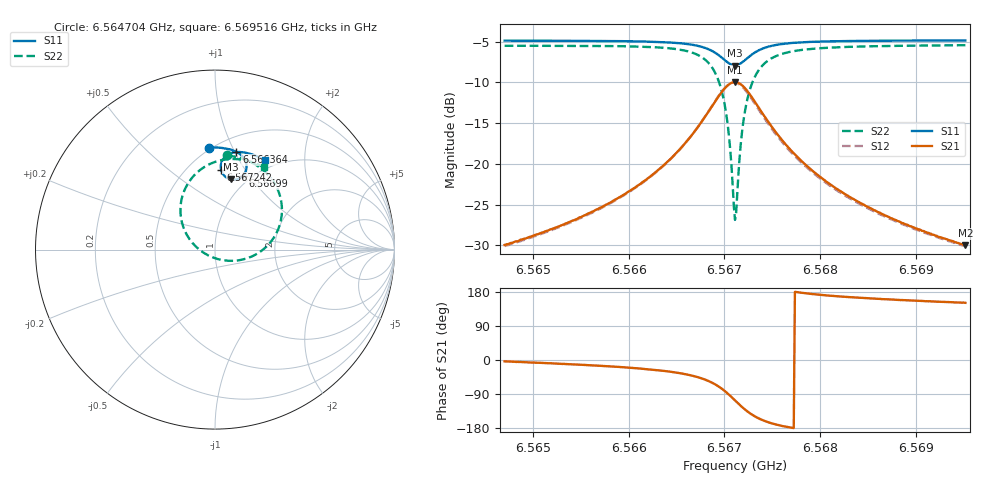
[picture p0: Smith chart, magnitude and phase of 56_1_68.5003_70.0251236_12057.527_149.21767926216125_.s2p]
#  HZ  S  RI  R  50.00
! Rohde & Schwarz Vector Network Analyzer
! Rohde-Schwarz,ZNB20-2Port,1311601062101988,3.16
! Created: UTC 3/20/2024, 4:51:02 PM
! freq[Hz]  re:S11  im:S11  re:S21  im:S21  re:S12  im:S12  re:S22  im:S22
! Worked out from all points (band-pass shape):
!   401 points, 6.564704 GHz to 6.569516 GHz, reference 50 ohm
!   highest |S21| = -9.98 dB at 6.56711 GHz (marker M1); lowest = -30.0 dB at 6.569516 GHz (marker M2)
!   |S21| within 3 dB of the highest: 6.566868 GHz to 6.56735 GHz (482.5 kHz wide, 0.00735 % of centre)
!   lowest |S11| = -7.9 dB at 6.56711 GHz (marker M3), VSWR 2.34, Z = 42.5 + j39.7 ohm
!   |S11| at or under -10 dB: nowhere
!   |S22| runs from -26.9 to -5.4 dB; largest |S21 - S12| = 0.016
!   S11 on the Smith chart (normalised r, x): 6.564704 GHz: 0.48, +0.82; 6.566364 GHz: 0.64, +1.02; 6.56699 GHz: 0.91, +0.93; 6.567242 GHz: 0.71, +0.79; 6.569516 GHz: 0.87, +1.29
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6.5647039e9  -0.0348 0.5684  0.0317 -0.00201  0.0311 -0.00248  0.069 0.525
6.5655099e9  0.0331 0.567  0.0462 -0.0103  0.0455 -0.011  0.1511 0.5071
6.565955e9  0.0746 0.5604  0.0613 -0.0215  0.0604 -0.0222  0.2093 0.4827
6.5663159e9  0.1133 0.5474  0.0821 -0.0423  0.081 -0.0433  0.2721 0.4399
6.5663641e9  0.1189 0.5447  0.0859 -0.0469  0.0846 -0.048  0.282 0.4308
6.5666167e9  0.1512 0.5211  0.1088 -0.0873  0.1073 -0.0893  0.3418 0.3512
6.5667971e9  0.1726 0.4843  0.1202 -0.1524  0.117 -0.1559  0.373 0.2254
6.5669054e9  0.1739 0.4463  0.1038 -0.219  0.0975 -0.2238  0.3452 0.0981
6.5669896e9  0.155 0.4111  0.0536 -0.2791  0.0425 -0.2825  0.2506 -0.0127
6.5670378e9  0.1323 0.3954  0.00339 -0.3041  -0.0105 -0.3044  0.1566 -0.0547
6.5670859e9  0.1026 0.3894  -0.0586 -0.3102  -0.0734 -0.3055  0.0437 -0.0589
6.5671099e9  0.087 0.3913  -0.0903 -0.3039  -0.1049 -0.2966  -0.0124 -0.0435
6.567134e9  0.0723 0.3966  -0.1205 -0.2915  -0.1336 -0.2817  -0.0639 -0.0171
6.5671701e9  0.0536 0.4097  -0.1585 -0.2636  -0.1686 -0.251  -0.1265 0.0381
6.5671941e9  0.0442 0.4211  -0.1776 -0.2408  -0.1854 -0.2272  -0.1563 0.0812
6.5672423e9  0.0337 0.4457  -0.2005 -0.192  -0.204 -0.1782  -0.1883 0.1699
6.5673385e9  0.037 0.4885  -0.2022 -0.1091  -0.2004 -0.0986  -0.1763 0.3144
6.5674829e9  0.064 0.5238  -0.1672 -0.0406  -0.1635 -0.0347  -0.1001 0.4294
6.5676513e9  0.0957 0.5393  -0.1287 -0.00777  -0.1254 -0.00472  -0.0197 0.4807
6.567916e9  0.1345 0.5439  -0.0905 0.00933  -0.0881 0.0106  0.0659 0.5031
6.568722e9  0.2149 0.5271  -0.044 0.0163  -0.0429 0.0164  0.1992 0.4893
6.569516e9  0.2762 0.4999  -0.0277 0.0154  -0.0271 0.0154  0.2756 0.4575
